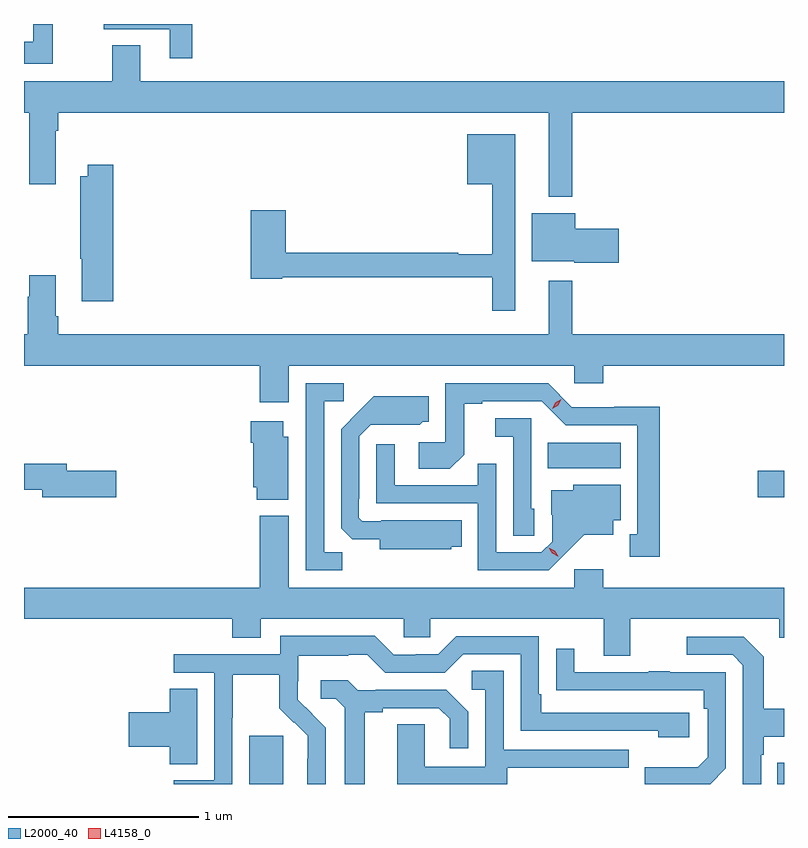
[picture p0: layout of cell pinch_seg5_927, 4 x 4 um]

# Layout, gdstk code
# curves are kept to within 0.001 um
import gdstk
lib = gdstk.Library(unit=1e-6, precision=1e-09)
def R(c, l, rs):  # rectangles x0, y0, x1, y1
    for r in rs: c.add(gdstk.rectangle(r[:2], r[2:], *l))
def P(c, l, *ps):  # polygons
    for p in ps: c.add(gdstk.Polygon(p, *l))
L2000_40 = (2000, 40)
L4158_0 = (4158, 0)

pinch_seg5_927 = lib.new_cell('pinch_seg5_927')
R(pinch_seg5_927, L2000_40, [(675.257,905.174,675.436,905.427), (678.037,905.174,678.072,905.287), (677.934,906.682,678.072,906.824), (676.828,906.836,677.212,906.97)])
P(pinch_seg5_927, L2000_40, [(674.957,909.174),(674.491,909.174),(674.491,909.147),(674.84,909.147),(674.84,908.994),(674.957,908.994)],
  [(674.222,909.174),(674.12,909.174),(674.12,909.08),(674.072,909.08),(674.072,908.964),(674.222,908.964)],
  [(674.072,908.708),(674.099,908.708),(674.099,908.331),(674.239,908.331),(674.239,908.612),(674.252,908.612),(674.252,908.708),(676.835,908.708),(676.835,908.264),(676.957,908.264),(676.957,908.708),(678.072,908.708),(678.072,908.872),(674.683,908.872),(674.683,909.062),(674.536,909.062),(674.536,908.872),(674.072,908.872)],
  [(676.657,908.593),(676.406,908.593),(676.406,908.33),(676.536,908.33),(676.536,907.963),(676.357,907.963),(676.357,907.97),(675.449,907.97),(675.449,908.194),(675.266,908.194),(675.266,907.834),(675.432,907.834),(675.432,907.842),(676.536,907.842),(676.536,907.665),(676.657,907.665)],
  [(674.543,908.434),(674.408,908.434),(674.408,908.374),(674.368,908.374),(674.368,907.939),(674.375,907.939),(674.375,907.716),(674.543,907.716)],
  [(677.203,908.096),(676.972,908.096),(676.972,908.179),(676.745,908.179),(676.745,907.925),(676.968,907.925),(676.968,907.918),(677.203,907.918)],
  [(675.466,907.376),(676.968,907.376),(676.968,907.283),(677.12,907.283),(677.12,907.376),(678.072,907.376),(678.072,907.54),(676.957,907.54),(676.957,907.822),(676.835,907.822),(676.835,907.54),(674.252,907.54),(674.252,907.636),(674.239,907.636),(674.239,907.852),(674.099,907.852),(674.099,907.739),(674.092,907.739),(674.092,907.54),(674.072,907.54),(674.072,907.376),(675.314,907.376),(675.314,907.182),(675.466,907.182)],
  [(677.419,907.16),(677.178,907.16),(677.178,907.158),(676.956,907.158),(676.83,907.284),(676.29,907.284),(676.29,906.972),(676.149,906.972),(676.149,906.832),(676.313,906.832),(676.389,906.908),(676.389,907.176),(676.483,907.176),(676.483,907.188),(676.797,907.188),(676.923,907.062),(677.3,907.062),(677.3,906.489),(677.261,906.489),(677.261,906.369),(677.419,906.369)],
  [(675.747,906.395),(675.651,906.395),(675.651,907.188),(675.754,907.188),(675.754,907.284),(675.555,907.284),(675.555,906.3),(675.747,906.3)],
  [(676.32,906.422),(676.376,906.422),(676.376,906.562),(675.952,906.562),(675.952,906.558),(675.852,906.558),(675.834,906.576),(675.834,906.676),(675.837,906.676),(675.837,907.005),(675.897,907.065),(676.154,907.064),(676.17,907.08),(676.201,907.08),(676.201,907.216),(675.913,907.216),(675.741,907.042),(675.741,906.52),(675.8,906.461),(675.944,906.461),(675.944,906.41),(676.32,906.41)],
  [(676.758,906.624),(676.743,906.624),(676.743,907.098),(676.551,907.098),(676.551,907.001),(676.647,907.001),(676.647,906.481),(676.758,906.481)],
  [(675.463,907.002),(675.436,907.002),(675.436,907.084),(675.266,907.084),(675.266,906.971),(675.278,906.971),(675.278,906.735),(675.296,906.735),(675.296,906.671),(675.463,906.671)],
  [(676.918,906.383),(677.021,906.485),(677.173,906.485),(677.173,906.561),(677.212,906.561),(677.212,906.748),(676.962,906.748),(676.962,906.721),(676.847,906.721),(676.847,906.592),(676.851,906.592),(676.851,906.45),(676.794,906.393),(676.557,906.393),(676.557,906.86),(676.459,906.86),(676.459,906.747),(676.023,906.747),(676.023,906.961),(675.927,906.961),(675.927,906.651),(676.461,906.651),(676.461,906.3),(676.834,906.3)],
  [(674.557,906.824),(674.296,906.824),(674.296,906.86),(674.072,906.86),(674.072,906.724),(674.168,906.724),(674.168,906.682),(674.557,906.682)],
  [(677.263,906.044),(678.047,906.044),(678.047,905.945),(678.072,905.945),(678.072,906.208),(677.12,906.208),(677.12,906.304),(676.968,906.304),(676.968,906.208),(675.466,906.208),(675.466,906.586),(675.314,906.586),(675.314,906.208),(674.072,906.208),(674.072,906.044),(675.167,906.044),(675.167,905.945),(675.319,905.945),(675.319,906.044),(676.071,906.044),(676.071,905.946),(676.209,905.946),(676.209,906.044),(677.123,906.044),(677.123,905.85),(677.263,905.85)],
  [(675.168,905.524),(675.171,905.524),(675.171,905.748),(675.415,905.748),(675.415,905.573),(675.492,905.496),(675.495,905.499),(675.566,905.429),(675.566,905.306),(675.564,905.306),(675.564,905.174),(675.66,905.174),(675.66,905.47),(675.514,905.618),(675.514,905.715),(675.516,905.715),(675.516,905.849),(675.779,905.849),(675.779,905.853),(675.879,905.853),(675.972,905.76),(676.287,905.76),(676.383,905.856),(676.686,905.856),(676.686,905.454),(677.411,905.454),(677.411,905.42),(677.572,905.42),(677.572,905.55),(676.795,905.55),(676.795,905.647),(676.782,905.647),(676.782,905.952),(676.347,905.952),(676.251,905.856),(676.133,905.856),(676.133,905.853),(676.017,905.853),(675.917,905.953),(675.42,905.953),(675.42,905.856),(674.859,905.856),(674.859,905.76),(675.072,905.76),(675.072,905.193),(674.859,905.193),(674.859,905.174),(675.168,905.174)],
  [(677.952,905.327),(677.965,905.327),(677.965,905.423),(678.072,905.423),(678.072,905.571),(677.965,905.571),(677.965,905.843),(677.859,905.949),(677.559,905.949),(677.559,905.853),(677.802,905.853),(677.856,905.799),(677.856,905.174),(677.952,905.174)],
  [(677.766,905.256),(677.766,905.763),(677.471,905.763),(677.471,905.768),(677.359,905.768),(677.359,905.763),(676.969,905.763),(676.969,905.887),(676.873,905.887),(676.873,905.668),(677.65,905.667),(677.65,905.57),(677.67,905.57),(677.67,905.316),(677.617,905.263),(677.34,905.263),(677.34,905.174),(677.684,905.174)],
  [(676.615,905.259),(677.255,905.259),(677.255,905.355),(676.596,905.355),(676.596,905.771),(676.428,905.771),(676.428,905.67),(676.5,905.67),(676.5,905.265),(676.182,905.265),(676.182,905.489),(676.037,905.489),(676.037,905.174),(676.615,905.174)],
  [(675.865,905.552),(675.961,905.552),(675.961,905.574),(676.256,905.574),(676.313,905.517),(676.313,905.361),(676.41,905.361),(676.41,905.554),(676.294,905.67),(675.922,905.67),(675.922,905.667),(675.828,905.667),(675.776,905.719),(675.633,905.719),(675.633,905.622),(675.714,905.622),(675.761,905.575),(675.761,905.174),(675.865,905.174)],
  [(674.983,905.675),(674.84,905.675),(674.84,905.552),(674.622,905.552),(674.622,905.369),(674.84,905.369),(674.84,905.278),(674.983,905.278)])
P(pinch_seg5_927, L4158_0, [(676.851,907.148),(676.851,907.148),(676.868,907.18),(676.9,907.199),(676.9,907.199),(676.9,907.199),(676.883,907.167),(676.851,907.148)],
  [(676.882,906.372),(676.852,906.388),(676.835,906.417),(676.835,906.418),(676.835,906.418),(676.866,906.402),(676.883,906.372),(676.883,906.372)])

lib.write_gds('pinch_seg5_927.gds')
